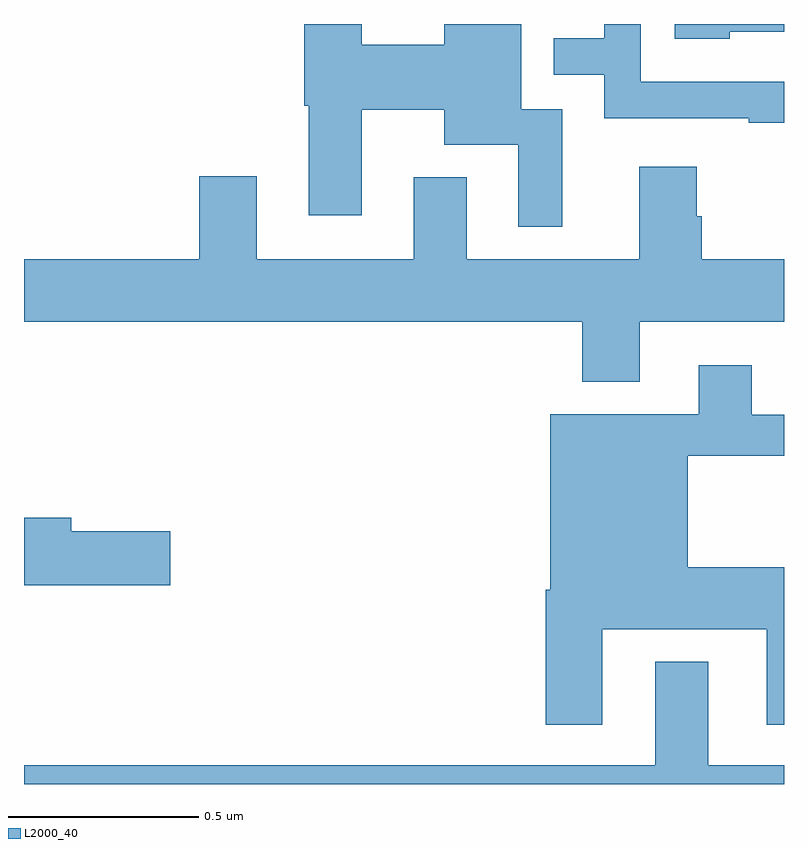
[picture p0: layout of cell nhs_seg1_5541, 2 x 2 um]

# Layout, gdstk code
import gdstk
lib = gdstk.Library(unit=1e-6, precision=1e-09)
def P(c, l, *ps):  # polygons
    for p in ps: c.add(gdstk.Polygon(p, *l))
L2000_40 = (2000, 40)

nhs_seg1_5541 = lib.new_cell('nhs_seg1_5541')
P(nhs_seg1_5541, L2000_40, [(181.857,535.178),(182,535.178),(182,535.199),(181.713,535.199),(181.713,535.16),(181.857,535.16)],
  [(181.417,534.975),(181.308,534.975),(181.308,535.199),(181.106,535.199),(181.106,535.145),(180.889,535.145),(180.889,535.199),(180.737,535.199),(180.737,534.984),(180.749,534.984),(180.749,534.696),(180.889,534.696),(180.889,534.973),(181.106,534.973),(181.106,534.881),(181.301,534.881),(181.301,534.666),(181.417,534.666)],
  [(182,535.047),(181.623,535.047),(181.623,535.199),(181.527,535.199),(181.527,535.161),(181.394,535.161),(181.394,535.065),(181.527,535.065),(181.527,534.951),(181.907,534.951),(181.907,534.939),(182,534.939)],
  [(181.165,534.796),(181.025,534.796),(181.025,534.58),(180.613,534.58),(180.613,534.799),(180.461,534.799),(180.461,534.58),(180,534.58),(180,534.416),(181.469,534.416),(181.469,534.257),(181.621,534.257),(181.621,534.416),(182,534.416),(182,534.58),(181.784,534.58),(181.784,534.693),(181.771,534.693),(181.771,534.823),(181.619,534.823),(181.619,534.58),(181.165,534.58)],
  [(181.522,533.606),(181.955,533.606),(181.955,533.355),(182,533.355),(182,533.77),(181.747,533.77),(181.747,534.063),(182,534.063),(182,534.171),(181.915,534.171),(181.915,534.301),(181.775,534.301),(181.775,534.172),(181.385,534.172),(181.385,533.71),(181.373,533.71),(181.373,533.355),(181.522,533.355)],
  [(180.385,533.864),(180.124,533.864),(180.124,533.9),(180,533.9),(180,533.722),(180.385,533.722)],
  [(181.801,533.521),(181.661,533.521),(181.661,533.248),(180,533.248),(180,533.199),(182,533.199),(182,533.248),(181.801,533.248)])

lib.write_gds('nhs_seg1_5541.gds')
